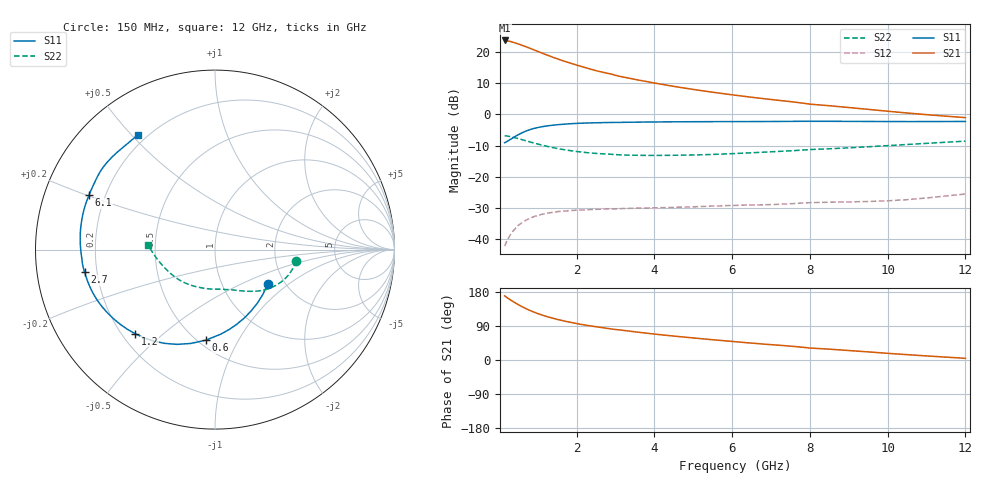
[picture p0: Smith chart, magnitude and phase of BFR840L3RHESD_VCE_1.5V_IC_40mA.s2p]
! Infineon Technologies  Discrete & RF Semiconductors
! BFR840L3RHESD
! VCE =  1.5 V,  IC =  40 mA
! Common Emitter S-Parameters:  Jun 2012
# GHz  S  MA  R  50
!  f  S11  S21  S12  S22
! GHz  MAG  ANG  MAG  ANG  MAG  ANG  MAG  ANG
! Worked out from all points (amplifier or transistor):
!   91 points, 150 MHz to 12 GHz, reference 50 ohm
!   highest |S21| = 23.6 dB at 150 MHz (marker M1)
!   |S21| within 3 dB of that: start of sweep to 903.5 MHz
!   unconditionally stable (mu >= 1): start of sweep to end of sweep
!   at 1.3 GHz: K = 1.06, MAG = 23.6 dB, |S12| = -31.5 dB
!   at 4.3 GHz: K = 2.02, MAG = 13.8 dB, |S12| = -29.8 dB
!   at 12 GHz: K = 3.86, MAG = 3.4 dB, |S12| = -25.5 dB
!   S11 on the Smith chart (normalised r, x): 150 MHz: 1.64, -0.72; 600 MHz: 0.55, -0.74; 1.2 GHz: 0.25, -0.41; 2.7 GHz: 0.15, -0.08; 6.1 GHz: 0.14, +0.20; 12 GHz: 0.17, +0.52
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0.15  0.351 -33.2  15.17 169.2  0.0078 37.9  0.4544 -7.8
0.25  0.3806 -51.7  14.82 162.1  0.0105 42.4  0.4455 -13.9
0.35  0.4157 -67.3  14.29 155.4  0.0132 44.7  0.4325 -19.3
0.5  0.4719 -86.0  13.35 146.2  0.0167 45.3  0.4092 -26.4
0.6  0.5076 -95.9  12.69 140.6  0.0186 44.3  0.3931 -30.5
0.7  0.5401 -104.5  12.03 135.5  0.0203 42.8  0.3774 -34.3
0.8  0.5687 -111.8  11.38 130.7  0.0218 40.9  0.3624 -37.7
0.9  0.5932 -118.3  10.76 126.5  0.0231 38.9  0.3483 -40.7
1.1  0.6318 -129.1  9.605 119.0  0.0251 35.1  0.3232 -45.9
1.2  0.6468 -133.6  9.079 115.8  0.0259 33.6  0.3121 -48.1
1.4  0.6711 -141.4  8.143 110.0  0.0272 31.3  0.2931 -52.3
1.7  0.6975 -150.4  7.019 102.5  0.0285 29.4  0.2709 -57.9
1.9  0.7104 -155.3  6.414 98.2  0.0291 28.3  0.2597 -61.3
2.2  0.7241 -161.7  5.639 92.6  0.0297 26.3  0.2466 -65.8
2.7  0.7373 -170.1  4.669 84.8  0.0305 24.7  0.2331 -73.0
3.3  0.746 -178.2  3.834 77.0  0.0313 25.0  0.2231 -81.6
4.2  0.7567 172.3  3.013 66.3  0.0322 26.9  0.2206 -94.8
5  0.7619 165.1  2.503 58.2  0.0332 28.7  0.224 -106.2
6.1  0.7649 156.6  2.014 48.1  0.035 31.0  0.2366 -121.6
8.5  0.7731 140.9  1.372 28.6  0.0393 36.8  0.2814 -152.1
10.5  0.7658 130.4  1.05 14.1  0.0432 44.9  0.3295 -171.7
12  0.7697 124.1  0.886 4.4  0.0532 48.3  0.3727 176.1
